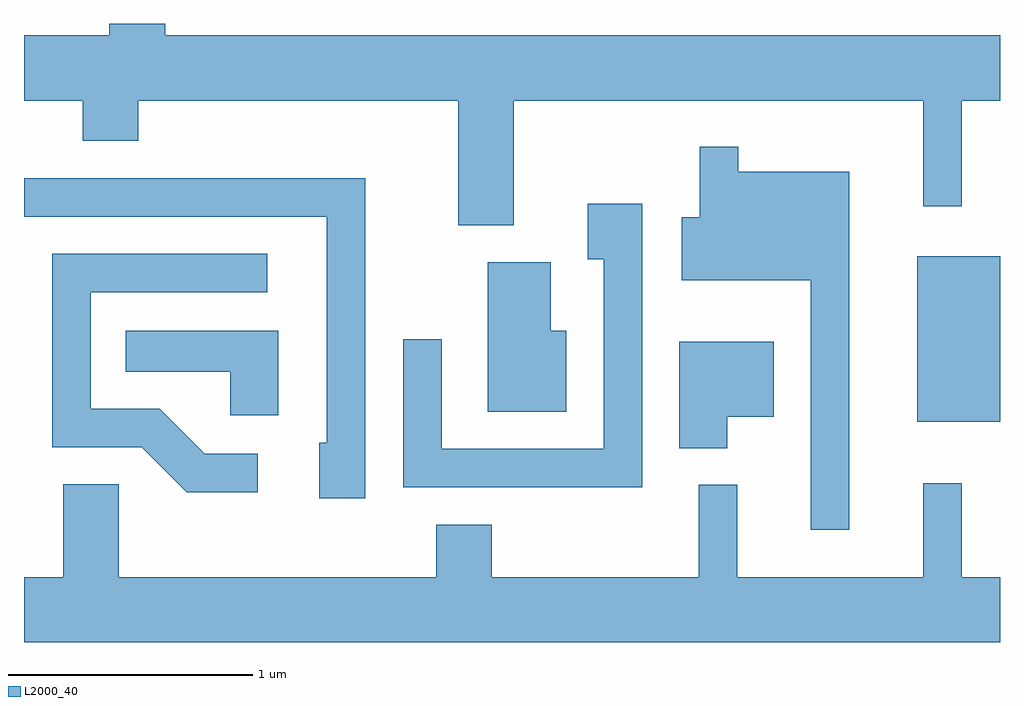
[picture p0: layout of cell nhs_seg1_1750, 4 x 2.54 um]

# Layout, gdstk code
import gdstk
lib = gdstk.Library(unit=1e-6, precision=1e-09)
def R(c, l, rs):  # rectangles x0, y0, x1, y1
    for r in rs: c.add(gdstk.rectangle(r[:2], r[2:], *l))
def P(c, l, *ps):  # polygons
    for p in ps: c.add(gdstk.Polygon(p, *l))
L2000_40 = (2000, 40)

nhs_seg1_1750 = lib.new_cell('nhs_seg1_1750')
R(nhs_seg1_1750, L2000_40, [(243.271,856.081,243.611,856.759)])
P(nhs_seg1_1750, L2000_40, [(241.619,857.396),(243.296,857.396),(243.296,856.963),(243.454,856.963),(243.454,857.396),(243.611,857.396),(243.611,857.664),(240.189,857.664),(240.189,857.712),(239.961,857.712),(239.961,857.664),(239.611,857.664),(239.611,857.396),(239.851,857.396),(239.851,857.231),(240.079,857.231),(240.079,857.396),(241.391,857.396),(241.391,856.886),(241.619,856.886)],
  [(242.994,857.104),(242.539,857.104),(242.539,857.208),(242.381,857.208),(242.381,856.919),(242.306,856.919),(242.306,856.661),(242.836,856.661),(242.836,855.638),(242.994,855.638)],
  [(241.009,857.079),(239.611,857.079),(239.611,856.921),(240.851,856.921),(240.851,855.994),(240.821,855.994),(240.821,855.766),(241.009,855.766)],
  [(242.144,856.974),(241.921,856.974),(241.921,856.746),(241.986,856.746),(241.986,855.969),(241.324,855.969),(241.324,856.418),(241.166,856.418),(241.166,855.811),(242.144,855.811)],
  [(240.568,855.949),(240.352,855.949),(240.167,856.134),(239.884,856.134),(239.884,856.611),(240.608,856.611),(240.608,856.769),(239.726,856.769),(239.726,855.976),(240.094,855.976),(240.279,855.791),(240.568,855.791)],
  [(241.834,856.454),(241.769,856.454),(241.769,856.734),(241.511,856.734),(241.511,856.121),(241.834,856.121)],
  [(240.654,856.454),(240.028,856.454),(240.028,856.286),(240.456,856.286),(240.456,856.106),(240.654,856.106)],
  [(242.494,856.101),(242.684,856.101),(242.684,856.409),(242.296,856.409),(242.296,855.971),(242.494,855.971)],
  [(242.376,855.823),(242.376,855.444),(241.529,855.444),(241.529,855.659),(241.301,855.659),(241.301,855.444),(239.999,855.444),(239.999,855.824),(239.771,855.824),(239.771,855.444),(239.611,855.444),(239.611,855.176),(243.611,855.176),(243.611,855.444),(243.454,855.444),(243.454,855.828),(243.296,855.828),(243.296,855.444),(242.534,855.444),(242.534,855.823)])

lib.write_gds('nhs_seg1_1750.gds')
